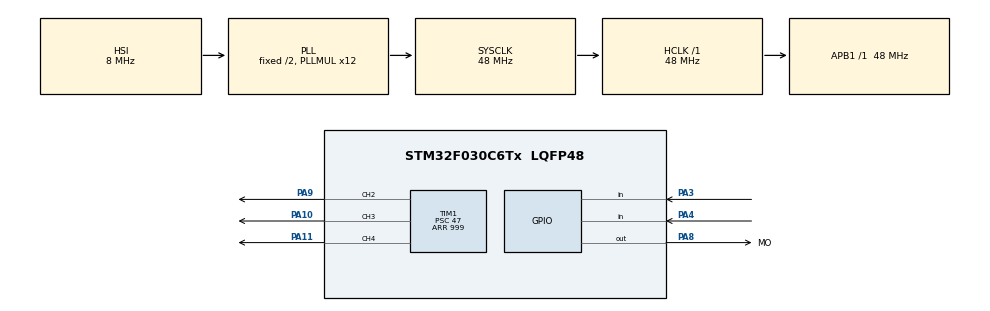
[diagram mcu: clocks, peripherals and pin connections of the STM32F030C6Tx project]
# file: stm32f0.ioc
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Mcu.Family=STM32F0
Mcu.Name=STM32F030C6Tx
Mcu.Package=LQFP48
NVIC.TIM17_IRQn=true\:0\:0\:false\:false\:true\:true\:true\:true
PA10.Signal=S_TIM1_CH3
PA11.Signal=S_TIM1_CH4
PA13.Mode=Serial_Wire
PA13.Signal=SYS_SWDIO
PA14.Mode=Serial_Wire
PA14.Signal=SYS_SWCLK
PA3.GPIO_PuPd=GPIO_PULLUP
PA3.Signal=GPIO_Input
PA4.GPIO_PuPd=GPIO_PULLUP
PA4.Signal=GPIO_Input
PA8.GPIO_Label=MO
PA8.PinState=GPIO_PIN_RESET
PA8.Signal=GPIO_Output
PA9.Signal=S_TIM1_CH2
PB6.Signal=USART1_TX
ProjectManager.HeapSize=0x200
ProjectManager.StackSize=0x400
ProjectManager.TargetToolchain=CMake
RCC.AHBFreq_Value=48000000
RCC.APB1Freq_Value=48000000
RCC.APB1TimFreq_Value=48000000
RCC.HCLKFreq_Value=48000000
RCC.PLLMUL=RCC_PLL_MUL12
RCC.SYSCLKFreq_VALUE=48000000
RCC.SYSCLKSource=RCC_SYSCLKSOURCE_PLLCLK
SH.S_TIM1_CH2.0=TIM1_CH2,PWM Generation2 CH2
SH.S_TIM1_CH3.0=TIM1_CH3,PWM Generation3 CH3
SH.S_TIM1_CH4.0=TIM1_CH4,PWM Generation4 CH4
TIM1.Channel-PWM\ Generation2\ CH2=TIM_CHANNEL_2
TIM1.Channel-PWM\ Generation3\ CH3=TIM_CHANNEL_3
TIM1.Channel-PWM\ Generation4\ CH4=TIM_CHANNEL_4
TIM1.Period=999
TIM1.Prescaler=47
TIM17.AutoReloadPreload=TIM_AUTORELOAD_PRELOAD_ENABLE
TIM17.Period=100-1
TIM17.Prescaler=480-1
VP_TIM17_VS_ClockSourceINT.Mode=Enable_Timer
board=custom

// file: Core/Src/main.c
/* USER CODE BEGIN Header */
/**
  ******************************************************************************
  * @file           : main.c
  * @brief          : Main program body
  ******************************************************************************
  * @attention
  *
  * Copyright (c) 2025 STMicroelectronics.
  * All rights reserved.
  *
  * This software is licensed under terms that can be found in the LICENSE file
  * in the root directory of this software component.
  * If no LICENSE file comes with this software, it is provided AS-IS.
  *
  ******************************************************************************
  */
/* USER CODE END Header */
#include "main.h"
#include "tim.h"
#include "gpio.h"

/* USER CODE BEGIN Includes */
#include "button.h"
#include "rgb_led.h"
/* USER CODE END Includes */

/* USER CODE BEGIN PD */
Button_t myButton;
Button_t myButton2;
RGB_LED_t my_led;
/* USER CODE END PD */

void SystemClock_Config(void);

/* USER CODE BEGIN 0 */

uint32_t on_mo_time = 20 * 1000 ; // 上次按键扫描时间

uint8_t mo_long_state = 0; // 按键状态

void Button_LongCallback()
{

    mo_long_state = 1;
    HAL_GPIO_WritePin(GPIOA, GPIO_PIN_8, GPIO_PIN_SET); // 打开monitor
    RGB_LED_StartWhiteBreath(&my_led, 2000);// 启动白色呼吸灯效果
}

void Button_ClickCallback(uint8_t count)
{
    // 按键点击回调函数
    // 这里可以添加按键点击后的处理逻辑
    if (count == 1)
    {

    }
}
void Button_InactiveCallback()
{

    if (mo_long_state ==1)
    {
         // 无活动回调函数
        // 这里可以添加无活动后的处理逻辑
        HAL_GPIO_WritePin(GPIOA, GPIO_PIN_8, GPIO_PIN_RESET); // 关闭monitor
        RGB_LED_StartFlash(&my_led, 255, 0, 0, 200, 200);
        mo_long_state = 0; // 重置状态
    }

}
void Button_LongPressReleaseCallback()
{
    // 长按抬起回调函数
    // 这里可以添加长按抬起后的处理逻辑
}

void Button2_longpress_handler()
{
    // 按下时执行的代码...
    HAL_GPIO_WritePin(GPIOA, GPIO_PIN_8, GPIO_PIN_SET); // 打开monitor
    RGB_LED_StartFlash(&my_led, 0, 0, 255, 400, 400);
}

void Button2_release_handler()
{
    // 抬起时执行的代码...
    HAL_GPIO_WritePin(GPIOA, GPIO_PIN_8, GPIO_PIN_RESET); // 关闭monitor
    RGB_LED_StartFlash(&my_led, 255, 0, 0, 200, 200);
}

/* USER CODE END 0 */

int main(void)
{

  /* MCU Configuration--------------------------------------------------------*/

  /* Reset of all peripherals, Initializes the Flash interface and the Systick. */
  HAL_Init();

  /* Configure the system clock */
  SystemClock_Config();

  /* Initialize all configured peripherals */
  MX_GPIO_Init();
  MX_TIM17_Init();
  MX_TIM1_Init();
  /* USER CODE BEGIN 2 */

  Button_Init(&myButton, GPIOA, GPIO_PIN_3); // 初始化按键，连接到PC3

  Button_SetShortPressCallback(&myButton, Button_ClickCallback);
  Button_SetLongPressCallback(&myButton, Button_LongCallback); // 设置长按回调函数，如果不需要可以传NULL
  Button_SetInactiveCallback(&myButton, Button_InactiveCallback, 5000); // 设置无活动回调函数，如果不需要可以传NULL和0
  Button_SetLongPressReleaseCallback(&myButton, Button_LongPressReleaseCallback); // 设置长按抬起回调函数，如果不需要可以传NULL

  Button_Init(&myButton2, GPIOA, GPIO_PIN_4); // 初始化按键，连接到PC3

  Button_SetPressCallback(&myButton2, Button2_longpress_handler);
  Button_SetReleaseCallback(&myButton2, Button2_release_handler);

  RGB_LED_Init(&my_led, LED_CONNECTION_COMMON_ANODE,
              &htim1, TIM_CHANNEL_2,
              &htim1, TIM_CHANNEL_3,
              &htim1, TIM_CHANNEL_4);

  RGB_LED_StartWhiteBreath(&my_led, 2000);
  /* USER CODE END 2 */

  /* Infinite loop */
  while (1)
  {

  }
}

void SystemClock_Config(void)
{
  RCC_OscInitTypeDef RCC_OscInitStruct = {0};
  RCC_ClkInitTypeDef RCC_ClkInitStruct = {0};

  /** Initializes the RCC Oscillators according to the specified parameters
  * in the RCC_OscInitTypeDef structure.
  */
  RCC_OscInitStruct.OscillatorType = RCC_OSCILLATORTYPE_HSI;
  RCC_OscInitStruct.HSIState = RCC_HSI_ON;
  RCC_OscInitStruct.HSICalibrationValue = RCC_HSICALIBRATION_DEFAULT;
  RCC_OscInitStruct.PLL.PLLState = RCC_PLL_ON;
  RCC_OscInitStruct.PLL.PLLSource = RCC_PLLSOURCE_HSI;
  RCC_OscInitStruct.PLL.PLLMUL = RCC_PLL_MUL12;
  RCC_OscInitStruct.PLL.PREDIV = RCC_PREDIV_DIV1;
  if (HAL_RCC_OscConfig(&RCC_OscInitStruct) != HAL_OK)
  {
    Error_Handler();
  }

  /** Initializes the CPU, AHB and APB buses clocks
  */
  RCC_ClkInitStruct.ClockType = RCC_CLOCKTYPE_HCLK|RCC_CLOCKTYPE_SYSCLK
                              |RCC_CLOCKTYPE_PCLK1;
  RCC_ClkInitStruct.SYSCLKSource = RCC_SYSCLKSOURCE_PLLCLK;
  RCC_ClkInitStruct.AHBCLKDivider = RCC_SYSCLK_DIV1;
  RCC_ClkInitStruct.APB1CLKDivider = RCC_HCLK_DIV1;

  if (HAL_RCC_ClockConfig(&RCC_ClkInitStruct, FLASH_LATENCY_1) != HAL_OK)
  {
    Error_Handler();
  }
}

/* USER CODE BEGIN 4 */
void HAL_GPIO_EXTI_Callback(uint16_t GPIO_Pin)
{
  if (GPIO_Pin == GPIO_PIN_3)
  {
    // 执行中断响应逻辑，例如翻转LED
    HAL_GPIO_TogglePin(GPIOC, GPIO_PIN_13);
  }
}

void HAL_TIM_PeriodElapsedCallback(TIM_HandleTypeDef *htim)
{
    if (htim->Instance == TIM17)
    {
        // 每 1ms 进一次，可用于执行按键扫描等任务
        Button_Scan(&myButton);
        Button_Scan(&myButton2);
        RGB_LED_Update(&my_led);
    }
}

/* USER CODE END 4 */

void Error_Handler(void)
{
  __disable_irq();
  while (1)
  {
  }
}
